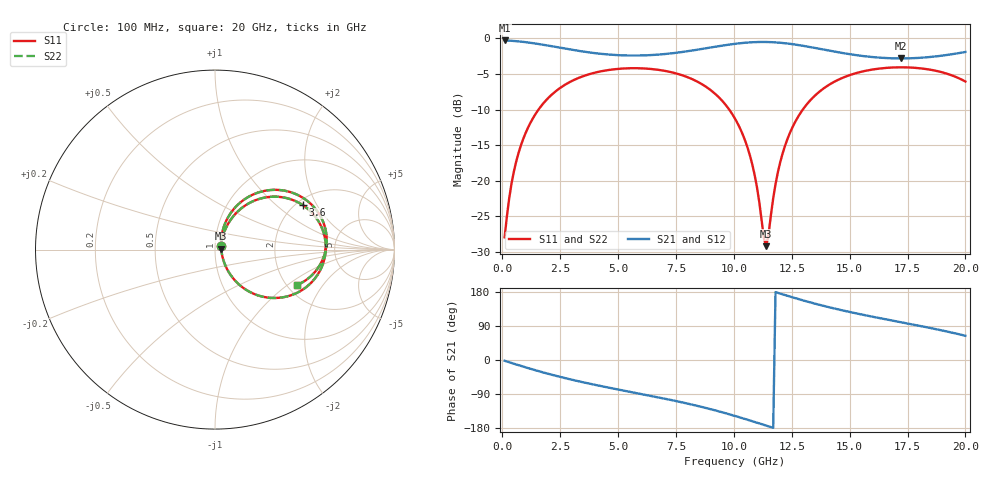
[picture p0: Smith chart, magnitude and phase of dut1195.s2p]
! Touchstone file exported from HFSS 2026.1.0
!  File:  C:/ffzhzh/LocalFiles/Ansys_Project_Files/temp_train_TSV_RDL_1195_1783317637_30076.aedt
!  Generated:  02:13:48 PM Jul  6, 2026
!  Design:  TSV_RDL
!  Project:  temp_train_TSV_RDL_1195_1783317637_30076
! Variables:
!  h_bsmrdl = 2.48um
!  h_ox = 20um
!  h_rdl = 5um
!  h_sub = 59.35um
!  h_tmrdl = 4.01um
!  h_tsv = 59.35um
!  h_via = 3um
!  l_bsmrdl = 213.39um
!  l_sub = 5138.85um
!  l_tmrdl = 999.47um
!  m_sub = 200um
!  pitch = 48.31um
!  r_tsv = 13.37um
!  s_tmrdl = 10um
!  w_bsmrdl = 21.41um
!  w_sub = 500um
!  w_tmrdl = 12.19um
!  x_tsv_center1 = 1005.565um
!  x_tsv_center2 = 1240.365um
!  x_tsv_center3 = 2252.025um
!  x_tsv_center4 = 2486.825um
!  x_tsv_center5 = 3498.485um
!  x_tsv_center6 = 3733.285um
# GHz S MA R 50.000000
! Terminal data exported
! Port[1] = TM_RDL1_1_T1
! Port[2] = TM_RDL5_1_T1
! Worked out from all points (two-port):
!   200 points, 100 MHz to 20 GHz, reference 50 ohm
!   highest |S21| = -0.29 dB at 100 MHz (marker M1); lowest = -2.8 dB at 17.2 GHz (marker M2)
!   |S21| within 3 dB of the highest: start of sweep to end of sweep
!   lowest |S11| = -29.2 dB at 11.4 GHz (marker M3), VSWR 1.07, Z = 53.5 + j0.611 ohm
!   |S11| at or under -10 dB: start of sweep to 1.566 GHz; 9.8 GHz to 12.98 GHz (3.18 GHz wide, 27.9 % of centre)
!   |S22| runs from -29.2 to -4.1 dB; largest |S21 - S12| = 1.7e-14
!   S11 on the Smith chart (normalised r, x): 100 MHz: 1.07, +0.05; 3.6 GHz: 2.19, +1.55; 20 GHz: 2.25, -1.18
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0.1  0.04008 32.9  0.9669 -2.0  0.9669 -2.0  0.04008 32.9
! Gamma 0 0 0 0
! Port Impedance 50 0 50 0
0.3  0.07572 57.3  0.9637 -6.0  0.9637 -6.0  0.07572 57.3
0.5  0.1161 62.6  0.9587 -9.8  0.9587 -9.8  0.1161 62.6
1.1  0.234 60.0  0.9365 -21.1  0.9365 -21.1  0.234 60.0
2.1  0.3976 46.6  0.8826 -38.3  0.8826 -38.3  0.3976 46.6
3.5  0.5431 27.9  0.8075 -58.9  0.8075 -58.9  0.5431 27.9
3.6  0.5501 26.6  0.8032 -60.3  0.8032 -60.3  0.5501 26.6
5.2  0.6139 7.7  0.7599 -80.2  0.7599 -80.2  0.6139 7.7
6.8  0.5994 -10.4  0.7706 -99.4  0.7706 -99.4  0.5994 -10.4
8.8  0.457 -35.7  0.8521 -126.7  0.8521 -126.7  0.457 -35.7
10.1  0.2641 -53.6  0.9178 -148.5  0.9178 -148.5  0.2641 -53.6
10.8  0.1294 -58.3  0.9395 -161.6  0.9395 -161.6  0.1295 -58.3
11.4  0.03472 9.4  0.9433 -173.2  0.9433 -173.2  0.03476 9.4
11.8  0.09463 66.0  0.9373 179.1  0.9373 179.1  0.09463 66.0
12.2  0.174 68.7  0.9249 171.5  0.9249 171.5  0.174 68.7
12.7  0.2682 63.9  0.9023 162.4  0.9023 162.4  0.2682 63.9
13.4  0.3818 54.5  0.8627 150.4  0.8627 150.4  0.3818 54.5
14.8  0.5369 36.0  0.7839 129.4  0.7839 129.4  0.5369 36.0
16.7  0.6224 14.2  0.7259 105.7  0.7259 105.7  0.6224 14.2
17.2  0.6263 8.8  0.723 99.9  0.723 99.9  0.6263 8.7
18.6  0.5977 -6.6  0.7434 83.0  0.7434 83.0  0.5977 -6.6
20  0.4976 -23.4  0.8025 64.0  0.8025 64.0  0.4976 -23.5
